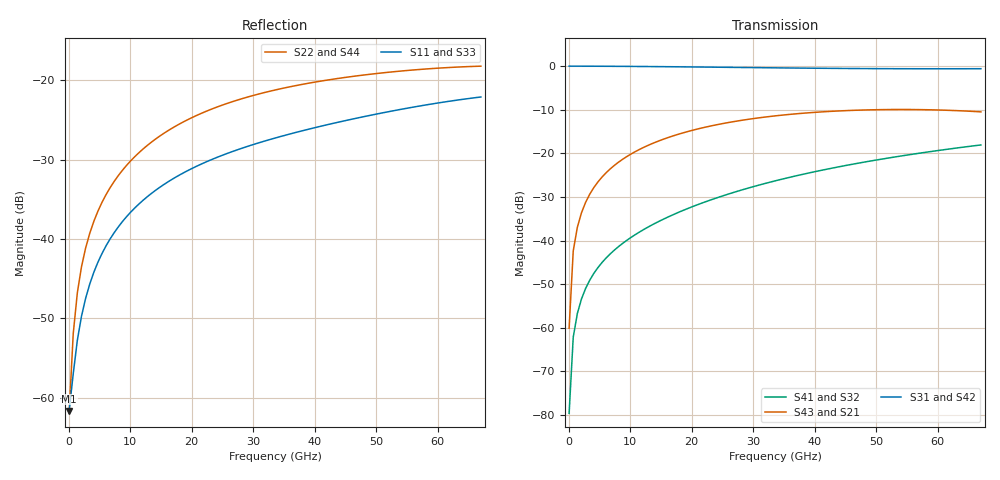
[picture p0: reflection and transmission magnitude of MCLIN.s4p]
! Touchstone Ver. 1.0
! Number of ports is 4
# Hz  S RI  R  50
! SCATTERING PARAMETERS  :
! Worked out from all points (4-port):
!   101 points, 100 MHz to 67 GHz, reference 50 ohm
!   strongest paths, dB at 100 MHz, 16.82 GHz, 33.55 GHz, 50.27 GHz, 67 GHz:
!     S31: 0.0, -0.1, -0.4, -0.6, -0.6
!     S42: 0.0, -0.1, -0.4, -0.6, -0.6
!     S43: -60.1, -16.1, -11.4, -10.0, -10.5
!     S21: -60.1, -16.1, -11.4, -10.0, -10.5
!     S41: -79.6, -34.2, -26.3, -21.5, -18.1
!     S32: -79.6, -34.2, -26.3, -21.5, -18.1
!   lowest |S11| = -61.7 dB at 100 MHz (marker M1), VSWR 1.00, Z = 50.1 - j0.015 ohm
!   |S11| at or under -10 dB: start of sweep to end of sweep
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1e8  0.000809 -0.00015  3.11e-05 0.000989  0.9992 -0.00307  -2.58e-05 -0.000101
     3.11e-05 0.000988  0.00073 -0.000317  -2.58e-05 -0.000101  0.9993 -0.0031
     0.9992 -0.00307  -2.58e-05 -0.000101  0.000809 -0.00015  3.11e-05 0.000989
     -2.58e-05 -0.000101  0.9993 -0.0031  3.11e-05 0.000988  0.00073 -0.000317
7.69e8  0.000813 -0.00115  0.000234 0.0076  0.9988 -0.0236  -4.09e-05 -0.000778
        0.000234 0.0076  0.000695 -0.00243  -4.09e-05 -0.000779  0.9989 -0.0238
        0.9988 -0.0236  -4.09e-05 -0.000778  0.000813 -0.00115  0.000234 0.0076
        -4.09e-05 -0.000779  0.9989 -0.0238  0.000234 0.0076  0.000695 -0.00243
2.107e9  0.000749 -0.00316  0.00144 0.0208  0.9966 -0.0646  -8.11e-05 -0.00213
         0.00144 0.0208  0.000413 -0.00665  -8.14e-05 -0.00214  0.9966 -0.0652
         0.9966 -0.0646  -8.11e-05 -0.00213  0.000749 -0.00316  0.00144 0.0208
         -8.14e-05 -0.00214  0.9966 -0.0652  0.00144 0.0208  0.000413 -0.00665
5.452e9  5.3e-05 -0.00812  0.00907 0.0528  0.983 -0.1659  -0.000318 -0.00559
         0.00907 0.0528  -0.00163 -0.017  -0.00032 -0.0056  0.9827 -0.1677
         0.983 -0.1659  -0.000318 -0.00559  5.3e-05 -0.00812  0.00907 0.0528
         -0.00032 -0.0056  0.9827 -0.1677  0.00907 0.0528  -0.00163 -0.017
1.1473e10  -0.00308 -0.0164  0.0381 0.1036  0.9308 -0.3406  -0.0015 -0.0123
           0.0381 0.1036  -0.00979 -0.0337  -0.0015 -0.0124  0.9293 -0.3439
           0.9308 -0.3406  -0.0015 -0.0123  -0.00308 -0.0164  0.0381 0.1036
           -0.0015 -0.0124  0.9293 -0.3439  0.0381 0.1036  -0.00979 -0.0337
3.8902e10  -0.0341 -0.0354  0.265 0.1212  0.3852 -0.8664  -0.0415 -0.0422
           0.2649 0.1212  -0.0792 -0.0542  -0.0415 -0.0422  0.3756 -0.8669
           0.3852 -0.8664  -0.0415 -0.0422  -0.0341 -0.0354  0.265 0.1212
           -0.0415 -0.0422  0.3756 -0.8669  0.2649 0.1212  -0.0792 -0.0542
6.7e10  -0.0774 -0.0141  0.2842 -0.093  -0.3297 -0.8742  -0.124 0.0143
        0.2842 -0.093  -0.123 0.00426  -0.124 0.0144  -0.3381 -0.8661
        -0.3297 -0.8742  -0.124 0.0143  -0.0774 -0.0141  0.2842 -0.093
        -0.124 0.0144  -0.3381 -0.8661  0.2842 -0.093  -0.123 0.00426
